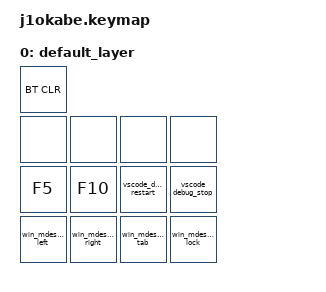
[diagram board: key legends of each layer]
#include <behaviors.dtsi>
#include <dt-bindings/zmk/keys.h>
#include <dt-bindings/zmk/bt.h>

/ {
    macros {
        vscode_debug_restart: vscode_debug_restart {
            compatible = "zmk,behavior-macro";
            #binding-cells = <0>;
            wait-ms = <40>;
            tap-ms = <40>;
            bindings =
                <&macro_press &kp LSHIFT>,
                <&macro_press &kp LCTRL>,
                <&macro_tap &kp F5>,
                <&macro_release &kp LCTRL>,
                <&macro_release &kp LSHIFT>;
        };
        vscode_debug_stop: vscode_debug_stop {
            compatible = "zmk,behavior-macro";
            #binding-cells = <0>;
            wait-ms = <40>;
            tap-ms = <40>;
            bindings =
                <&macro_press &kp LSHIFT>,
                <&macro_tap &kp F5>,
                <&macro_release &kp LSHIFT>;
        };
        win_mdesktop_right: win_mdesktop_right {
            compatible = "zmk,behavior-macro";
            #binding-cells = <0>;
            wait-ms = <40>;
            tap-ms = <40>;
            bindings =
                <&macro_press &kp LCTRL>,
                <&macro_press &kp LWIN>,
                <&macro_tap &kp RIGHT>,
                <&macro_release &kp LWIN>,
                <&macro_release &kp LCTRL>;
        };
        win_mdesktop_left: win_mdesktop_left {
            compatible = "zmk,behavior-macro";
            #binding-cells = <0>;
            wait-ms = <40>;
            tap-ms = <40>;
            bindings =
                <&macro_press &kp LCTRL>,
                <&macro_press &kp LWIN>,
                <&macro_tap &kp LEFT>,
                <&macro_release &kp LWIN>,
                <&macro_release &kp LCTRL>;
        };        
        win_mdesktop_tab: win_mdesktop_tab {
            compatible = "zmk,behavior-macro";
            #binding-cells = <0>;
            wait-ms = <40>;
            tap-ms = <40>;
            bindings =
                <&macro_press &kp LWIN>,
                <&macro_tap &kp TAB>,
                <&macro_release &kp LWIN>;
        };
        win_mdesktop_lock: win_mdesktop_lock {
            compatible = "zmk,behavior-macro";
            #binding-cells = <0>;
            wait-ms = <40>;
            tap-ms = <40>;
            bindings =
                <&macro_press &kp LWIN>,
                <&macro_tap &kp L>,
                <&macro_release &kp LWIN>;
        };
    };
    keymap {
        compatible = "zmk,keymap";

        default_layer {
            bindings = <
                &bt BT_CLR
                &none   &none   &none   &none
                &kp F5  &kp F10 &vscode_debug_restart   &vscode_debug_stop
                &win_mdesktop_left   &win_mdesktop_right   &win_mdesktop_tab   &win_mdesktop_lock
            >;
        };
    };
};
